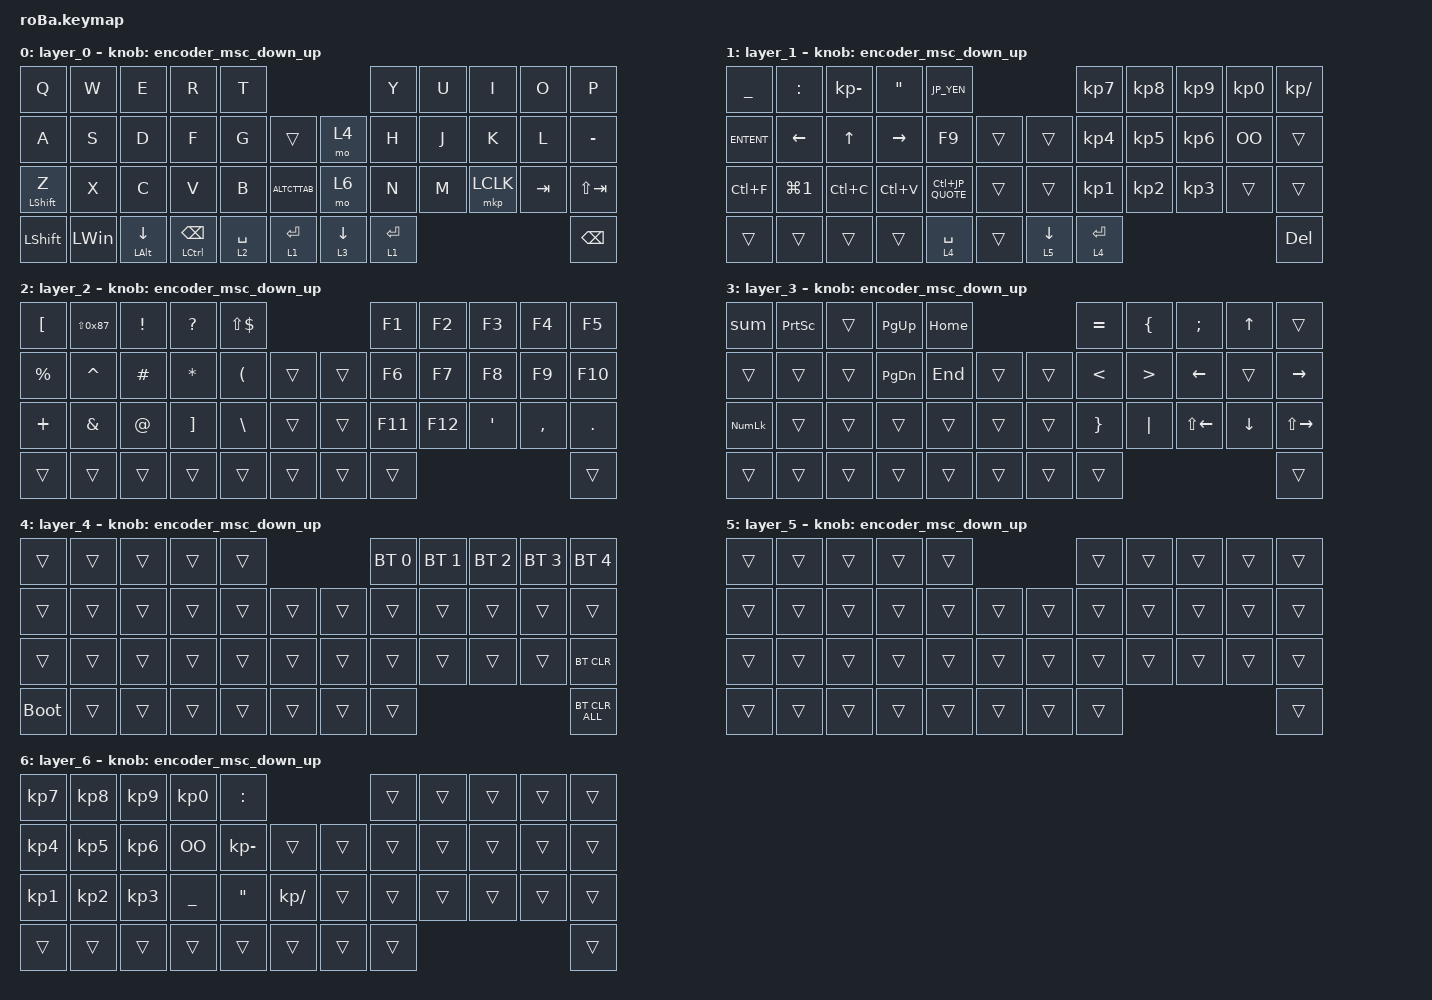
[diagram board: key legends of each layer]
#include <behaviors.dtsi>
#include <dt-bindings/zmk/bt.h>
#include <dt-bindings/zmk/keys.h>
#include <dt-bindings/zmk/pointing.h>

#define JP_DQUOTE       AT                // "
#define JP_AMPERSAND    CARET             // &
#define JP_QUOTE        AMPERSAND         // '
#define JP_EQUAL        UNDER             // =
#define JP_CARET        EQUAL             // ^
#define JP_YEN          0x89              // ¥
#define JP_PLUS         COLON             // +
#define JP_TILDE        PLUS              // ~
#define JP_PIPE         LS(0x89)          // |
#define JP_AT           LEFT_BRACKET      // @
#define JP_COLON        SINGLE_QUOTE      // :
#define JP_ASTERISK     DOUBLE_QUOTES     // *
#define JP_BACKQUOTE    LEFT_BRACE        // `
#define JP_UNDERSCORE   LS(0x87)          // _
#define JP_LBRACKET     RIGHT_BRACKET     // [
#define JP_RBRACKET     BACKSLASH         // ]
#define JP_LPAREN       ASTERISK          // (
#define JP_RPAREN       LEFT_PARENTHESIS  // )
#define JP_LBRACE       RIGHT_BRACE       // {
#define JP_RBRACE       PIPE              // }
#define JP_KANA         LANGUAGE_1        // かな
#define JP_EISU         LANGUAGE_2        // 英数
#define JP_HANZEN       GRAVE             // 半角/全角

#undef ZMK_POINTING_DEFAULT_SCRL_VAL

#define ZMK_POINTING_DEFAULT_SCRL_VAL 120
#define ZMK_POINTING_DEFAULT_MOVE_VAL 800

&mt {
    flavor = "balanced";
    quick-tap-ms = <0>;
};

&trackball {
    automouse-layer = <5>;
    scroll-layers = <6>;

    // arrows {
    //     layers = <3>;
    //     bindings =
    //         <&kp RIGHT_ARROW>,
    //         <&kp LEFT_ARROW>,
    //         <&kp UP_ARROW>,
    //         <&kp DOWN_ARROW>;
    //     tick = <10>;
    //     wait-ms = <5>;
    //     tap-ms = <5>;
    // };
};

/ {
    combos {
        compatible = "zmk,combos";

        tab {
            bindings = <&kp TAB>;
            key-positions = <11 12>;
        };

        shift_tab {
            bindings = <&kp LS(TAB)>;
            key-positions = <12 13>;
        };

        muhennkann {
            bindings = <&to_layer_0 INT_MUHENKAN>;
            key-positions = <11 10>;
        };

        escap {
            bindings = <&kp ESCAPE>;
            key-positions = <0 1>;
        };

        right1 {
            bindings = <&kp RIGHT>;
            key-positions = <8 19>;
        };

        bs {
            bindings = <&kp BACKSPACE>;
            key-positions = <7 18>;
        };

        mo6 {
            bindings = <&mo 6>;
            key-positions = <8 9>;
        };

        caps1 {
            bindings = <&kp LS(CAPSLOCK)>;
            key-positions = <13 14>;
        };

        kanakana {
            bindings = <&kp CAPSLOCK>;
            key-positions = <3 4>;
        };

        mbb1 {
            bindings = <&mkp LCLK>;
            key-positions = <20 31>;
        };

        mbb2 {
            bindings = <&mkp RCLK>;
            key-positions = <20 21>;
        };

        MO1 {
            bindings = <&to 1>;
            key-positions = <5 6>;
            layers = <0>;
        };

        MO0 {
            bindings = <&to 0>;
            key-positions = <5 6>;
            layers = <1>;
        };
    };

    macros {
        to_layer_0: to_layer_0 {
            compatible = "zmk,behavior-macro-one-param";
            #binding-cells = <1>;
            bindings = <&to 0 &macro_param_1to1 &kp MACRO_PLACEHOLDER>;
            label = "TO_LAYER_0";
        };

        OO: OO {
            compatible = "zmk,behavior-macro";
            #binding-cells = <0>;
            bindings = <&kp KP_NUMBER_0 &kp KP_NUMBER_0>;
            label = "OO";
        };

        ENTENT: ENTENT {
            compatible = "zmk,behavior-macro";
            #binding-cells = <0>;
            bindings = <&kp ENTER &kp ENTER &kp ENTER &kp ENTER &kp ENTER &kp ENTER &kp ENTER>;
            label = "ENTENT";
        };

        sum: sum {
            compatible = "zmk,behavior-macro";
            #binding-cells = <0>;
            bindings = <&kp LA(LC(S)) &kp U &kp M>;
            label = "SUM";
        };

        ALTCTTAB: ALTCTTAB {
            compatible = "zmk,behavior-macro";
            #binding-cells = <0>;
            bindings = <&kp LA(LC(TAB)) &kp ENTER>;
            label = "ALTCTTAB";
        };
    };

    behaviors {
        lt_to_layer_0: lt_to_layer_0 {
            compatible = "zmk,behavior-hold-tap";
            label = "LAYER_TAP_TO_0";
            bindings = <&mo>, <&to_layer_0>;

            #binding-cells = <2>;
            tapping-term-ms = <200>;
        };

        encoder_msc_down_up: encoder_msc_down_up {
            compatible = "zmk,behavior-sensor-rotate";
            label = "ENCODER_MSC_DOWN_UP";
            #sensor-binding-cells = <0>;
            bindings = <&msc SCRL_DOWN>, <&msc SCRL_UP>;

            tap-ms = <20>;
        };
    };

    keymap {
        compatible = "zmk,keymap";

        layer_0 {
            bindings = <
&kp Q             &kp W         &kp E              &kp R                       &kp T                                     &kp Y        &kp U  &kp I      &kp O    &kp P
&kp A             &kp S         &kp D              &kp F                       &kp G        &trans           &mo 4       &kp H        &kp J  &kp K      &kp L    &kp MINUS
&mt LEFT_SHIFT Z  &kp X         &kp C              &kp V                       &kp B        &ALTCTTAB        &mo 6       &kp N        &kp M  &mkp LCLK  &kp TAB  &kp LS(TAB)
&kp LEFT_SHIFT    &kp LEFT_WIN  &mt LEFT_ALT DOWN  &mt LEFT_CONTROL BACKSPACE  &lt 2 SPACE  &lt 1 ENTER      &lt 3 DOWN  &lt 1 ENTER                             &kp BACKSPACE
            >;

            sensor-bindings = <&encoder_msc_down_up>;
        };

        layer_1 {
            bindings = <
&kp JP_EQUAL  &kp JP_PLUS       &kp KP_MINUS  &kp JP_ASTERISK  &kp JP_YEN                                &kp KP_NUMBER_7  &kp KP_NUMBER_8  &kp KP_NUMBER_9  &kp KP_NUMBER_0  &kp KP_SLASH
&ENTENT       &kp LEFT          &kp UP        &kp RIGHT        &kp F9            &trans      &trans      &kp KP_NUMBER_4  &kp KP_NUMBER_5  &kp KP_NUMBER_6  &OO              &trans
&kp LC(F)     &kp LG(NUMBER_1)  &kp LC(C)     &kp LC(V)        &kp LC(JP_QUOTE)  &trans      &trans      &kp KP_NUMBER_1  &kp KP_NUMBER_2  &kp KP_NUMBER_3  &trans           &trans
&trans        &trans            &trans        &trans           &lt 4 SPACE       &trans      &lt 5 DOWN  &lt 4 ENTER                                                         &kp DEL
            >;

            sensor-bindings = <&encoder_msc_down_up>;
        };

        layer_2 {
            bindings = <
&kp JP_AT     &kp JP_UNDERSCORE  &kp EXCLAMATION  &kp QUESTION     &kp LS(DOLLAR)                       &kp F1   &kp F2   &kp F3        &kp F4     &kp F5
&kp PERCENT   &kp JP_AMPERSAND   &kp HASH         &kp JP_LPAREN    &kp JP_RPAREN    &trans      &trans  &kp F6   &kp F7   &kp F8        &kp F9     &kp F10
&kp JP_TILDE  &kp JP_QUOTE       &kp JP_DQUOTE    &kp JP_LBRACKET  &kp JP_RBRACKET  &trans      &trans  &kp F11  &kp F12  &kp JP_COLON  &kp COMMA  &kp DOT
&trans        &trans             &trans           &trans           &trans           &trans      &trans  &trans                                     &trans
            >;

            sensor-bindings = <&encoder_msc_down_up>;
        };

        layer_3 {
            bindings = <
&sum            &kp PRINTSCREEN  &trans  &kp PAGE_UP    &kp HOME                      &kp JP_CARET   &kp JP_BACKQUOTE  &kp SEMI      &kp UP    &trans
&trans          &trans           &trans  &kp PAGE_DOWN  &kp END   &trans      &trans  &kp LESS_THAN  &kp GREATER_THAN  &kp LEFT      &trans    &kp RIGHT
&kp KP_NUMLOCK  &trans           &trans  &trans         &trans    &trans      &trans  &kp JP_LBRACE  &kp JP_RBRACE     &kp LS(LEFT)  &kp DOWN  &kp LS(RIGHT)
&trans          &trans           &trans  &trans         &trans    &trans      &trans  &trans                                                   &trans
            >;

            sensor-bindings = <&encoder_msc_down_up>;
        };

        layer_4 {
            bindings = <
&trans       &trans  &trans  &trans  &trans                      &bt BT_SEL 0  &bt BT_SEL 1  &bt BT_SEL 2  &bt BT_SEL 3  &bt BT_SEL 4
&trans       &trans  &trans  &trans  &trans  &trans      &trans  &trans        &trans        &trans        &trans        &trans
&trans       &trans  &trans  &trans  &trans  &trans      &trans  &trans        &trans        &trans        &trans        &bt BT_CLR
&bootloader  &trans  &trans  &trans  &trans  &trans      &trans  &trans                                                  &bt BT_CLR_ALL
            >;

            sensor-bindings = <&encoder_msc_down_up>;
        };

        layer_5 {
            bindings = <
&trans  &trans  &trans  &trans  &trans                      &trans  &trans  &trans  &trans  &trans
&trans  &trans  &trans  &trans  &trans  &trans      &trans  &trans  &trans  &trans  &trans  &trans
&trans  &trans  &trans  &trans  &trans  &trans      &trans  &trans  &trans  &trans  &trans  &trans
&trans  &trans  &trans  &trans  &trans  &trans      &trans  &trans                          &trans
            >;

            sensor-bindings = <&encoder_msc_down_up>;
        };

        layer_6 {
            bindings = <
&kp KP_NUMBER_7  &kp KP_NUMBER_8  &kp KP_NUMBER_9  &kp KP_NUMBER_0  &kp JP_PLUS                                &trans  &trans  &trans  &trans  &trans
&kp KP_NUMBER_4  &kp KP_NUMBER_5  &kp KP_NUMBER_6  &OO              &kp KP_MINUS     &trans            &trans  &trans  &trans  &trans  &trans  &trans
&kp KP_NUMBER_1  &kp KP_NUMBER_2  &kp KP_NUMBER_3  &kp JP_EQUAL     &kp JP_ASTERISK  &kp KP_SLASH      &trans  &trans  &trans  &trans  &trans  &trans
&trans           &trans           &trans           &trans           &trans           &trans            &trans  &trans                          &trans
            >;

            sensor-bindings = <&encoder_msc_down_up>;
        };
    };
};
